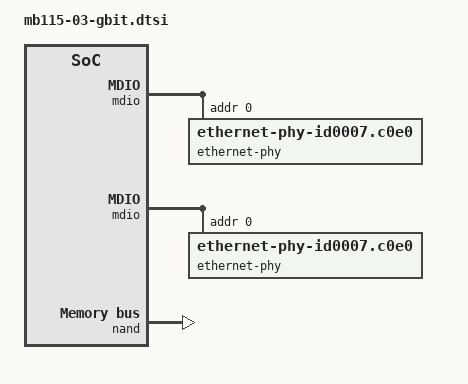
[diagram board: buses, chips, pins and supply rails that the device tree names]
/*
*
* Device Tree Source for RCM MB115.03 extention board ( Ethernet and NAND flash module )
* This file is for the variant of the board with 2 gigabit PHYs populated
*
*/

/ {
	plb {
		sram_nor_arbiter {
			status = "okay";
			sram-nor-mux = <0>;	/* 0 to route extmem wires to LSIF0, 1 - to MCIF (page 922) */
			ext-mem-mux-mode = <1>;	/* 0 - SRAN_NOR, 1 - NAND GBIT_GRETH0 GBIT_GRETH1, 2 - GRETH0 GRETH1 NAND (page 913) */
			mii-mux-mode = <1>; // 0- GBIT_GRETH1, 1 - GRETH2
			pinctrl-names = "default";
			pinctrl-0 =
				/* GRETH_GBIT0 -> EXT */
				<&lsif0_mgpio0_greth_gbit0_ext>,
				<&lsif0_mgpio1_greth_gbit0_ext>,
				<&lsif0_mgpio4_greth_gbit0_ext>,
				<&lsif0_mgpio5_greth_gbit0_ext>,
				/* GRETH_GBIT1 -> EXT */
				<&lsif0_mgpio1_greth_gbit1_ext>,
				<&lsif0_mgpio2_greth_gbit1_ext>,
				<&lsif0_mgpio4_greth_gbit1_ext>,
				<&lsif0_mgpio6_greth_gbit1_ext>,
				<&lsif0_mgpio7_greth_gbit1_ext>;
		};

		lsif0 {
			greth_gbit0: greth_gbit0@0x3C033000 {
				status = "ok";
				mac-address = [ EC 17 66 77 05 03 ];
				mdio {
					#address-cells = <1>;
					#size-cells = <0>;
					ethernet-phy@0 {
						reg = <0>;
						compatible = "ethernet-phy-id0007.c0e0"; // LAN8810
						// reset-gpios = <&gpio1 6 1>;
						// reset-assert-us = <100000>;
						// reset-deassert-us = <100000>;
					};
				};
			};

			greth_gbit1: greth_gbit1@0x3C034000 {
				status = "ok";
				mac-address = [ EC 17 66 77 05 04 ];
				mdio {
					#address-cells = <1>;
					#size-cells = <0>;
					ethernet-phy@0 {
						reg = <0>;
						compatible = "ethernet-phy-id0007.c0e0"; // LAN8810
						// reset-gpios = <&gpio1 7 1>;
						// reset-assert-us = <100000>;
						// reset-deassert-us = <100000>;
					};
				};
			};

			nand: nand@0x3C032000 {
				status = "okay";
				timings = <						/* (ONFI_2_0_Gold.pdf,page 47) */
					200		/* tADL_min */
					20		/* tALH_min */
					50		/* tALS_min */
					20		/* tCH_min */
					20		/* tCLH_min */
					50		/* tCLS_min */
					70		/* tCS_min */
					20		/* tDH_min */
					40		/* tDS_min */
					100		/* tWC_min */
					30		/* tWH_min */
					50		/* tWP_min */
					100		/* tWW_min */
					25		/* tAR_min */
					20		/* tCLR_min */
					0		/* tCOH_min */
					10		/* tIR_min */
					100		/* tRC_min */
					30		/* tREH_min */
					0		/* tRHOH_min */
					200		/* tRHW_min */
					0		/* tRLOH_min */
					50		/* tRP_min */
					40		/* tRR_min */
					120		/* tWHR_min */
					100		/* tCEA_max */
					100		/* tCHZ_max */
					40		/* tREA_max */
					200		/* tRHZ_max */
					200>;	/* tWB_max */
				partitions {
					compatible = "fixed-partitions";
					#address-cells = <1>;
					#size-cells = <1>;

					partition@0 {				/* device tree */
						label = "dtb";
						reg = <0x00000000 0x00040000>;
					};

					partition@40000 {			/* environment of u-boot */
						label = "env";
						reg = <0x00040000 0x00040000>;
					};

					partition@80000 {			/* linux kernel */
						label = "kern";
						reg = <0x00080000 0x00800000>;
					};

					partition@880000 {			/* uboot */
						label = "uboot";
						reg = <0x00880000 0x001A0000>;
					};

					partition@A20000 {			/* ubifs */
						label = "rootfs";
						reg = <0x00A20000 0x0f000000>;
					};

					partition@FA20000 {			/* reserved */
						label = "res";
						reg = <0x0FA20000 0x005E0000>;
					};
				};
			};
		};
	};
};
